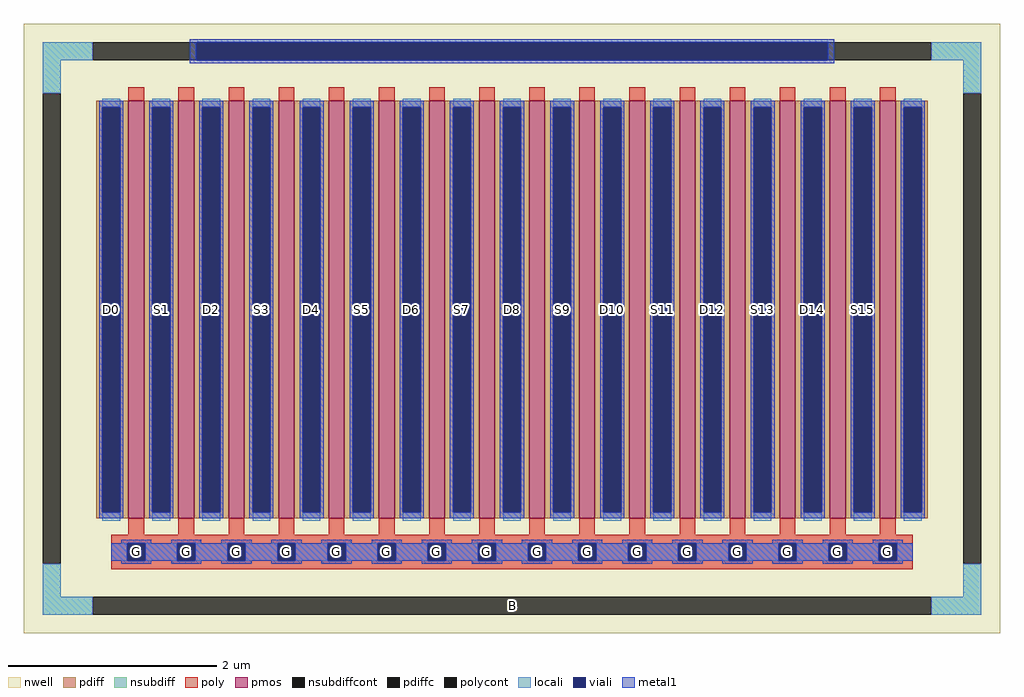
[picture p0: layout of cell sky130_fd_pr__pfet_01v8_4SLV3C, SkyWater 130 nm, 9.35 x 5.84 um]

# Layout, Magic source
magic
tech sky130A
magscale 1 2
<< nwell >>
rect -935 -584 935 584
<< pmos >>
rect -735 -364 -705 436
rect -639 -364 -609 436
rect -543 -364 -513 436
rect -447 -364 -417 436
rect -351 -364 -321 436
rect -255 -364 -225 436
rect -159 -364 -129 436
rect -63 -364 -33 436
rect 33 -364 63 436
rect 129 -364 159 436
rect 225 -364 255 436
rect 321 -364 351 436
rect 417 -364 447 436
rect 513 -364 543 436
rect 609 -364 639 436
rect 705 -364 735 436
<< pdiff >>
rect -797 424 -735 436
rect -797 -352 -785 424
rect -751 -352 -735 424
rect -797 -364 -735 -352
rect -705 424 -639 436
rect -705 -352 -689 424
rect -655 -352 -639 424
rect -705 -364 -639 -352
rect -609 424 -543 436
rect -609 -352 -593 424
rect -559 -352 -543 424
rect -609 -364 -543 -352
rect -513 424 -447 436
rect -513 -352 -497 424
rect -463 -352 -447 424
rect -513 -364 -447 -352
rect -417 424 -351 436
rect -417 -352 -401 424
rect -367 -352 -351 424
rect -417 -364 -351 -352
rect -321 424 -255 436
rect -321 -352 -305 424
rect -271 -352 -255 424
rect -321 -364 -255 -352
rect -225 424 -159 436
rect -225 -352 -209 424
rect -175 -352 -159 424
rect -225 -364 -159 -352
rect -129 424 -63 436
rect -129 -352 -113 424
rect -79 -352 -63 424
rect -129 -364 -63 -352
rect -33 424 33 436
rect -33 -352 -17 424
rect 17 -352 33 424
rect -33 -364 33 -352
rect 63 424 129 436
rect 63 -352 79 424
rect 113 -352 129 424
rect 63 -364 129 -352
rect 159 424 225 436
rect 159 -352 175 424
rect 209 -352 225 424
rect 159 -364 225 -352
rect 255 424 321 436
rect 255 -352 271 424
rect 305 -352 321 424
rect 255 -364 321 -352
rect 351 424 417 436
rect 351 -352 367 424
rect 401 -352 417 424
rect 351 -364 417 -352
rect 447 424 513 436
rect 447 -352 463 424
rect 497 -352 513 424
rect 447 -364 513 -352
rect 543 424 609 436
rect 543 -352 559 424
rect 593 -352 609 424
rect 543 -364 609 -352
rect 639 424 705 436
rect 639 -352 655 424
rect 689 -352 705 424
rect 639 -364 705 -352
rect 735 424 797 436
rect 735 -352 751 424
rect 785 -352 797 424
rect 735 -364 797 -352
<< pdiffc >>
rect -785 -352 -751 424
rect -689 -352 -655 424
rect -593 -352 -559 424
rect -497 -352 -463 424
rect -401 -352 -367 424
rect -305 -352 -271 424
rect -209 -352 -175 424
rect -113 -352 -79 424
rect -17 -352 17 424
rect 79 -352 113 424
rect 175 -352 209 424
rect 271 -352 305 424
rect 367 -352 401 424
rect 463 -352 497 424
rect 559 -352 593 424
rect 655 -352 689 424
rect 751 -352 785 424
<< nsubdiff >>
rect -899 514 -803 548
rect 803 514 899 548
rect -899 451 -865 514
rect 865 451 899 514
rect -899 -514 -865 -451
rect 865 -514 899 -451
rect -899 -548 -803 -514
rect 803 -548 899 -514
<< nsubdiffcont >>
rect -803 514 803 548
rect -899 -451 -865 451
rect 865 -451 899 451
rect -803 -548 803 -514
<< poly >>
rect -735 436 -705 462
rect -639 436 -609 462
rect -543 436 -513 462
rect -447 436 -417 462
rect -351 436 -321 462
rect -255 436 -225 462
rect -159 436 -129 462
rect -63 436 -33 462
rect 33 436 63 462
rect 129 436 159 462
rect 225 436 255 462
rect 321 436 351 462
rect 417 436 447 462
rect 513 436 543 462
rect 609 436 639 462
rect 705 436 735 462
rect -735 -395 -705 -364
rect -639 -395 -609 -364
rect -543 -395 -513 -364
rect -447 -395 -417 -364
rect -351 -395 -321 -364
rect -255 -395 -225 -364
rect -159 -395 -129 -364
rect -63 -395 -33 -364
rect 33 -395 63 -364
rect 129 -395 159 -364
rect 225 -395 255 -364
rect 321 -395 351 -364
rect 417 -395 447 -364
rect 513 -395 543 -364
rect 609 -395 639 -364
rect 705 -395 735 -364
rect -768 -411 768 -395
rect -768 -445 -737 -411
rect -703 -445 -641 -411
rect -607 -445 -545 -411
rect -511 -445 -449 -411
rect -415 -445 -353 -411
rect -319 -445 -257 -411
rect -223 -445 -161 -411
rect -127 -445 -65 -411
rect -31 -445 31 -411
rect 65 -445 127 -411
rect 161 -445 223 -411
rect 257 -445 319 -411
rect 353 -445 415 -411
rect 449 -445 511 -411
rect 545 -445 607 -411
rect 641 -445 703 -411
rect 737 -445 768 -411
rect -768 -461 768 -445
<< polycont >>
rect -737 -445 -703 -411
rect -641 -445 -607 -411
rect -545 -445 -511 -411
rect -449 -445 -415 -411
rect -353 -445 -319 -411
rect -257 -445 -223 -411
rect -161 -445 -127 -411
rect -65 -445 -31 -411
rect 31 -445 65 -411
rect 127 -445 161 -411
rect 223 -445 257 -411
rect 319 -445 353 -411
rect 415 -445 449 -411
rect 511 -445 545 -411
rect 607 -445 641 -411
rect 703 -445 737 -411
<< locali >>
rect -899 514 -803 548
rect 803 514 899 548
rect -899 451 -865 514
rect 865 451 899 514
rect -785 424 -751 440
rect -785 -368 -751 -352
rect -689 424 -655 440
rect -689 -368 -655 -352
rect -593 424 -559 440
rect -593 -368 -559 -352
rect -497 424 -463 440
rect -497 -368 -463 -352
rect -401 424 -367 440
rect -401 -368 -367 -352
rect -305 424 -271 440
rect -305 -368 -271 -352
rect -209 424 -175 440
rect -209 -368 -175 -352
rect -113 424 -79 440
rect -113 -368 -79 -352
rect -17 424 17 440
rect -17 -368 17 -352
rect 79 424 113 440
rect 79 -368 113 -352
rect 175 424 209 440
rect 175 -368 209 -352
rect 271 424 305 440
rect 271 -368 305 -352
rect 367 424 401 440
rect 367 -368 401 -352
rect 463 424 497 440
rect 463 -368 497 -352
rect 559 424 593 440
rect 559 -368 593 -352
rect 655 424 689 440
rect 655 -368 689 -352
rect 751 424 785 440
rect 751 -368 785 -352
rect -768 -445 -737 -411
rect -703 -445 -641 -411
rect -607 -445 -545 -411
rect -511 -445 -449 -411
rect -415 -445 -353 -411
rect -319 -445 -257 -411
rect -223 -445 -161 -411
rect -127 -445 -65 -411
rect -31 -445 31 -411
rect 65 -445 127 -411
rect 161 -445 223 -411
rect 257 -445 319 -411
rect 353 -445 415 -411
rect 449 -445 511 -411
rect 545 -445 607 -411
rect 641 -445 703 -411
rect 737 -445 768 -411
rect -899 -514 -865 -451
rect 865 -514 899 -451
rect -899 -548 -803 -514
rect 803 -548 899 -514
<< viali >>
rect -605 514 605 548
rect -785 -352 -751 424
rect -689 -352 -655 424
rect -593 -352 -559 424
rect -497 -352 -463 424
rect -401 -352 -367 424
rect -305 -352 -271 424
rect -209 -352 -175 424
rect -113 -352 -79 424
rect -17 -352 17 424
rect 79 -352 113 424
rect 175 -352 209 424
rect 271 -352 305 424
rect 367 -352 401 424
rect 463 -352 497 424
rect 559 -352 593 424
rect 655 -352 689 424
rect 751 -352 785 424
rect -737 -445 -703 -411
rect -641 -445 -607 -411
rect -545 -445 -511 -411
rect -449 -445 -415 -411
rect -353 -445 -319 -411
rect -257 -445 -223 -411
rect -161 -445 -127 -411
rect -65 -445 -31 -411
rect 31 -445 65 -411
rect 127 -445 161 -411
rect 223 -445 257 -411
rect 319 -445 353 -411
rect 415 -445 449 -411
rect 511 -445 545 -411
rect 607 -445 641 -411
rect 703 -445 737 -411
<< metal1 >>
rect -617 548 617 554
rect -617 514 -605 548
rect 605 514 617 548
rect -617 508 617 514
rect -791 424 -745 436
rect -791 -352 -785 424
rect -751 -352 -745 424
rect -791 -364 -745 -352
rect -695 424 -649 436
rect -695 -352 -689 424
rect -655 -352 -649 424
rect -695 -364 -649 -352
rect -599 424 -553 436
rect -599 -352 -593 424
rect -559 -352 -553 424
rect -599 -364 -553 -352
rect -503 424 -457 436
rect -503 -352 -497 424
rect -463 -352 -457 424
rect -503 -364 -457 -352
rect -407 424 -361 436
rect -407 -352 -401 424
rect -367 -352 -361 424
rect -407 -364 -361 -352
rect -311 424 -265 436
rect -311 -352 -305 424
rect -271 -352 -265 424
rect -311 -364 -265 -352
rect -215 424 -169 436
rect -215 -352 -209 424
rect -175 -352 -169 424
rect -215 -364 -169 -352
rect -119 424 -73 436
rect -119 -352 -113 424
rect -79 -352 -73 424
rect -119 -364 -73 -352
rect -23 424 23 436
rect -23 -352 -17 424
rect 17 -352 23 424
rect -23 -364 23 -352
rect 73 424 119 436
rect 73 -352 79 424
rect 113 -352 119 424
rect 73 -364 119 -352
rect 169 424 215 436
rect 169 -352 175 424
rect 209 -352 215 424
rect 169 -364 215 -352
rect 265 424 311 436
rect 265 -352 271 424
rect 305 -352 311 424
rect 265 -364 311 -352
rect 361 424 407 436
rect 361 -352 367 424
rect 401 -352 407 424
rect 361 -364 407 -352
rect 457 424 503 436
rect 457 -352 463 424
rect 497 -352 503 424
rect 457 -364 503 -352
rect 553 424 599 436
rect 553 -352 559 424
rect 593 -352 599 424
rect 553 -364 599 -352
rect 649 424 695 436
rect 649 -352 655 424
rect 689 -352 695 424
rect 649 -364 695 -352
rect 745 424 791 436
rect 745 -352 751 424
rect 785 -352 791 424
rect 745 -364 791 -352
rect -749 -411 -691 -405
rect -653 -411 -595 -405
rect -557 -411 -499 -405
rect -461 -411 -403 -405
rect -365 -411 -307 -405
rect -269 -411 -211 -405
rect -173 -411 -115 -405
rect -77 -411 -19 -405
rect 19 -411 77 -405
rect 115 -411 173 -405
rect 211 -411 269 -405
rect 307 -411 365 -405
rect 403 -411 461 -405
rect 499 -411 557 -405
rect 595 -411 653 -405
rect 691 -411 749 -405
rect -768 -445 -737 -411
rect -703 -445 -641 -411
rect -607 -445 -545 -411
rect -511 -445 -449 -411
rect -415 -445 -353 -411
rect -319 -445 -257 -411
rect -223 -445 -161 -411
rect -127 -445 -65 -411
rect -31 -445 31 -411
rect 65 -445 127 -411
rect 161 -445 223 -411
rect 257 -445 319 -411
rect 353 -445 415 -411
rect 449 -445 511 -411
rect 545 -445 607 -411
rect 641 -445 703 -411
rect 737 -445 768 -411
rect -749 -451 -691 -445
rect -653 -451 -595 -445
rect -557 -451 -499 -445
rect -461 -451 -403 -445
rect -365 -451 -307 -445
rect -269 -451 -211 -445
rect -173 -451 -115 -445
rect -77 -451 -19 -445
rect 19 -451 77 -445
rect 115 -451 173 -445
rect 211 -451 269 -445
rect 307 -451 365 -445
rect 403 -451 461 -445
rect 499 -451 557 -445
rect 595 -451 653 -445
rect 691 -451 749 -445
<< labels >>
rlabel nsubdiffcont 0 -531 0 -531 0 B
port 1 nsew
rlabel pdiffc -768 36 -768 36 0 D0
port 2 nsew
rlabel polycont -720 -428 -720 -428 0 G
port 3 nsew
rlabel pdiffc -672 36 -672 36 0 S1
port 4 nsew
rlabel polycont -624 -428 -624 -428 0 G
port 3 nsew
rlabel pdiffc -576 36 -576 36 0 D2
port 5 nsew
rlabel polycont -528 -428 -528 -428 0 G
port 3 nsew
rlabel pdiffc -480 36 -480 36 0 S3
port 6 nsew
rlabel polycont -432 -428 -432 -428 0 G
port 3 nsew
rlabel pdiffc -384 36 -384 36 0 D4
port 7 nsew
rlabel polycont -336 -428 -336 -428 0 G
port 3 nsew
rlabel pdiffc -288 36 -288 36 0 S5
port 8 nsew
rlabel polycont -240 -428 -240 -428 0 G
port 3 nsew
rlabel pdiffc -192 36 -192 36 0 D6
port 9 nsew
rlabel polycont -144 -428 -144 -428 0 G
port 3 nsew
rlabel pdiffc -96 36 -96 36 0 S7
port 10 nsew
rlabel polycont -48 -428 -48 -428 0 G
port 3 nsew
rlabel pdiffc 0 36 0 36 0 D8
port 11 nsew
rlabel polycont 48 -428 48 -428 0 G
port 3 nsew
rlabel pdiffc 96 36 96 36 0 S9
port 12 nsew
rlabel polycont 144 -428 144 -428 0 G
port 3 nsew
rlabel pdiffc 192 36 192 36 0 D10
port 13 nsew
rlabel polycont 240 -428 240 -428 0 G
port 3 nsew
rlabel pdiffc 288 36 288 36 0 S11
port 14 nsew
rlabel polycont 336 -428 336 -428 0 G
port 3 nsew
rlabel pdiffc 384 36 384 36 0 D12
port 15 nsew
rlabel polycont 432 -428 432 -428 0 G
port 3 nsew
rlabel pdiffc 480 36 480 36 0 S13
port 16 nsew
rlabel polycont 528 -428 528 -428 0 G
port 3 nsew
rlabel pdiffc 576 36 576 36 0 D14
port 17 nsew
rlabel polycont 624 -428 624 -428 0 G
port 3 nsew
rlabel pdiffc 672 36 672 36 0 S15
port 18 nsew
rlabel polycont 720 -428 720 -428 0 G
port 3 nsew
<< properties >>
string FIXED_BBOX -882 -531 882 531
string gencell sky130_fd_pr__pfet_01v8
string library sky130
string parameters w 4.0 l 0.15 m 1 nf 16 diffcov 100 polycov 100 guard 1 glc 1 grc 1 gtc 1 gbc 1 tbcov 100 rlcov 100 topc 0 botc 1 poverlap 0 doverlap 1 lmin 0.15 wmin 0.42 class mosfet compatible {sky130_fd_pr__pfet_01v8  sky130_fd_pr__pfet_01v8_lvt sky130_fd_pr__pfet_01v8_hvt  sky130_fd_pr__pfet_g5v0d10v5} full_metal 1 conn_gates 1 viasrc 100 viadrn 100 viagate 100 viagb 0 viagr 0 viagl 0 viagt 70 doports 1
<< end >>
